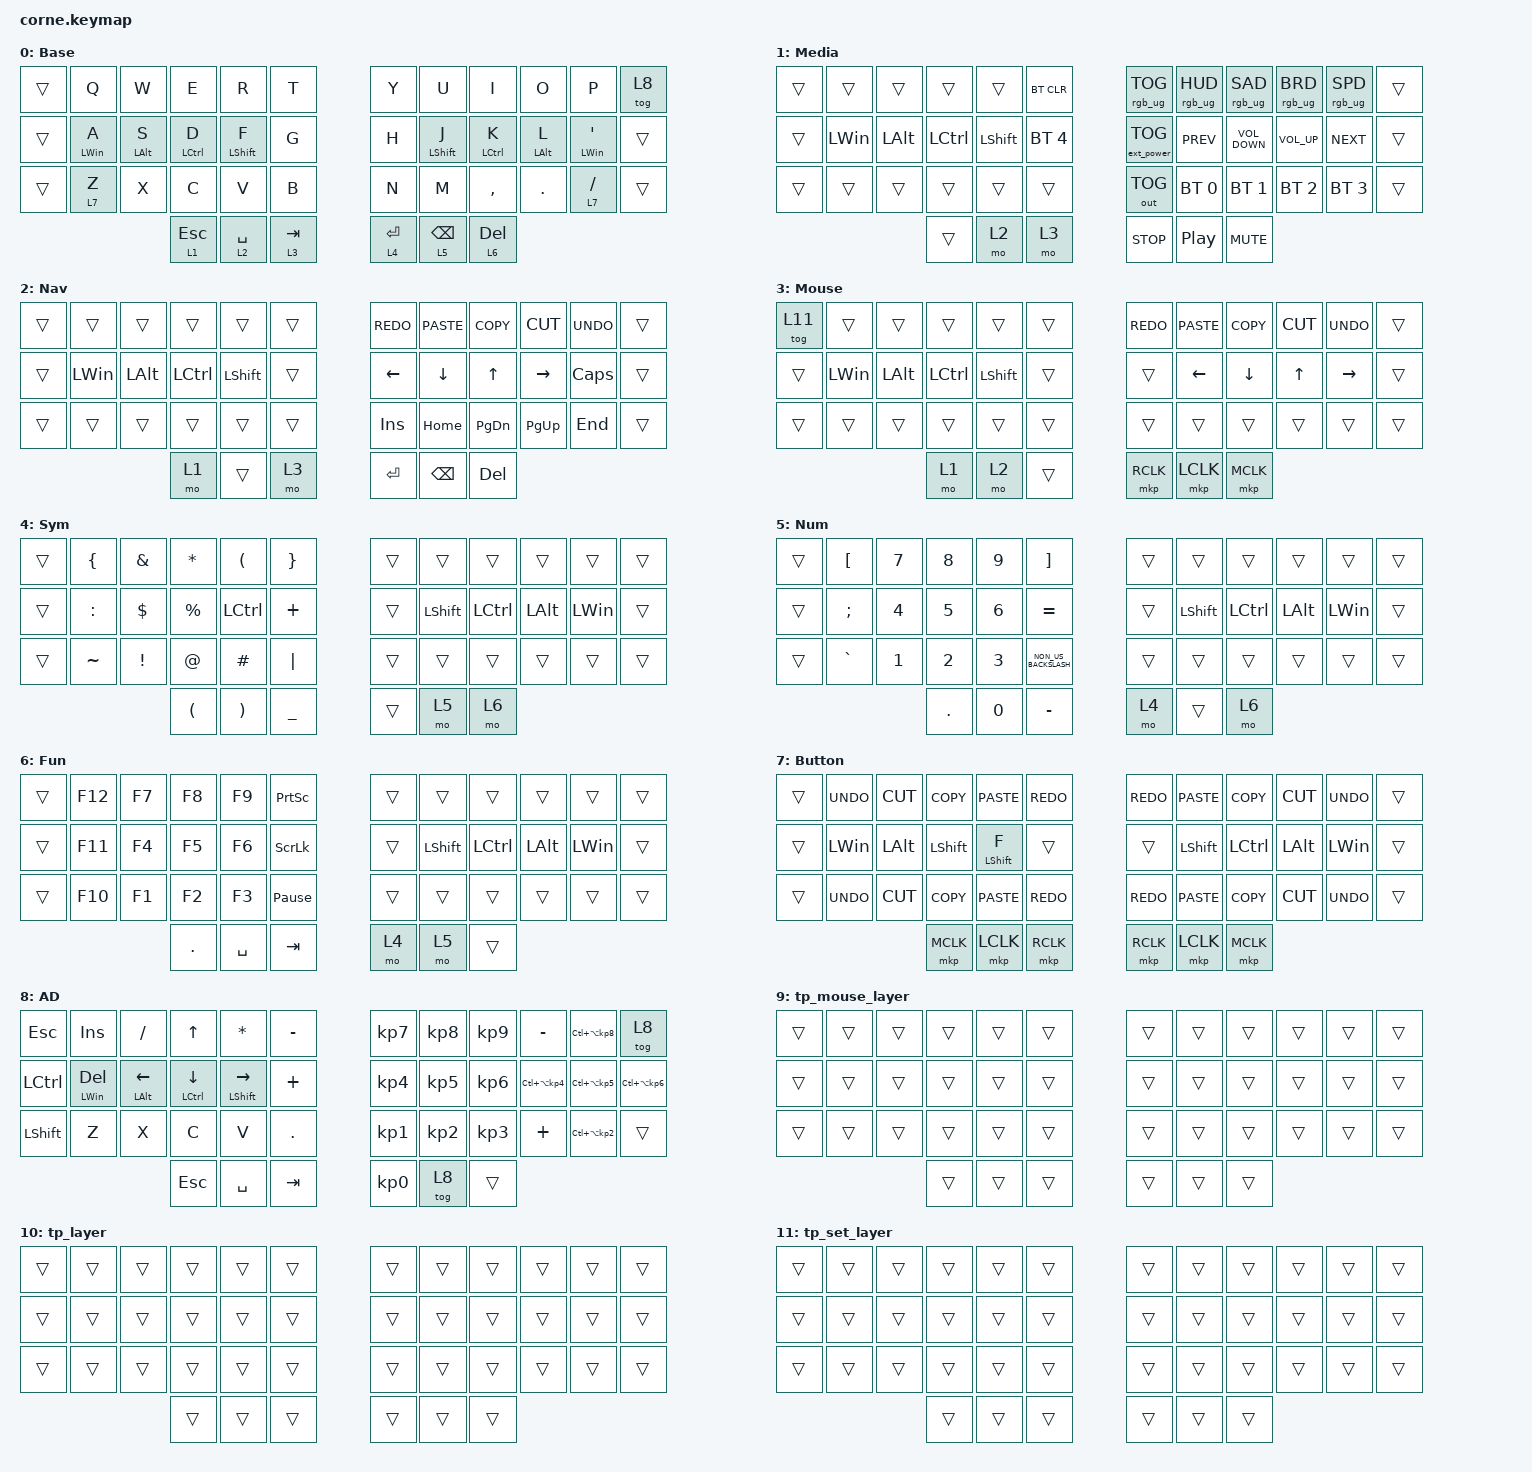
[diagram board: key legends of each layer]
/*
 * Copyright (c) 2020 The ZMK Contributors
 *
 * SPDX-License-Identifier: MIT
 * To use home rows - &hm LSHFT F
 */

#include <behaviors.dtsi>
#include <dt-bindings/zmk/bt.h>
#include <dt-bindings/zmk/ext_power.h>
#include <dt-bindings/zmk/keys.h>
#include <dt-bindings/zmk/mouse.h>
#include <dt-bindings/zmk/outputs.h>
#include <dt-bindings/zmk/rgb.h>

/*
#define QWERTY 0
#define NUMB 1
#define NAVI 2
#define ADJUST 3
#define Fkey 4
*/

/ {
    behaviors {
        hm: homerow_mods {
            compatible = "zmk,behavior-hold-tap";
            #binding-cells = <2>;
            tapping-term-ms = <200>;
            quick_tap_ms = <0>;
            require-prior-idle-ms = <125>;
            flavor = "tap-preferred";
            bindings = <&kp>, <&kp>;
        };
    };

    keymap {
        compatible = "zmk,keymap";

        default_layer {
            display-name = "Base";
            bindings = <
&trans  &kp Q           &kp W       &kp E        &kp R         &kp T        &kp Y      &kp U            &kp I         &kp O       &kp P         &tog 8
&trans  &mt LEFT_WIN A  &mt LALT S  &mt LCTRL D  &mt LSHIFT F  &kp G        &kp H      &mt LSHIFT J     &mt LCTRL K   &mt LALT L  &mt LWIN SQT  &trans
&trans  &lt 7 Z         &kp X       &kp C        &kp V         &kp B        &kp N      &kp M            &kp COMMA     &kp DOT     &lt 7 FSLH    &trans
                                    &lt 1 ESC    &lt 2 SPACE   &lt 3 TAB    &lt 4 RET  &lt 5 BACKSPACE  &lt 6 DELETE
            >;
        };

        media_layer {
            display-name = "Media";
            bindings = <
&trans  &trans        &trans    &trans     &trans      &bt BT_CLR      &rgb_ug RGB_TOG    &rgb_ug RGB_HUD   &rgb_ug RGB_SAD    &rgb_ug RGB_BRD  &rgb_ug RGB_SPD  &trans
&trans  &kp LEFT_WIN  &kp LALT  &kp LCTRL  &kp LSHIFT  &bt BT_SEL 4    &ext_power EP_TOG  &kp K_PREV        &kp C_VOLUME_DOWN  &kp C_VOLUME_UP  &kp K_NEXT       &trans
&trans  &trans        &trans    &trans     &trans      &trans          &out OUT_TOG       &bt BT_SEL 0      &bt BT_SEL 1       &bt BT_SEL 2     &bt BT_SEL 3     &trans
                                &trans     &mo 2       &mo 3           &kp C_STOP         &kp C_PLAY_PAUSE  &kp K_MUTE
            >;
        };

        nav_layer {
            display-name = "Nav";
            bindings = <
&trans  &trans        &trans    &trans     &trans      &trans    &kp K_REDO      &kp K_PASTE     &kp K_COPY     &kp K_CUT        &kp K_UNDO    &trans
&trans  &kp LEFT_WIN  &kp LALT  &kp LCTRL  &kp LSHIFT  &trans    &kp LEFT_ARROW  &kp DOWN_ARROW  &kp UP_ARROW   &kp RIGHT_ARROW  &kp CAPSLOCK  &trans
&trans  &trans        &trans    &trans     &trans      &trans    &kp INSERT      &kp HOME        &kp PAGE_DOWN  &kp PAGE_UP      &kp END       &trans
                                &mo 1      &trans      &mo 3     &kp ENTER       &kp BACKSPACE   &kp DEL
            >;
        };

        mouse_layer {
            display-name = "Mouse";
            bindings = <
&tog 11  &trans        &trans    &trans     &trans      &trans    &kp K_REDO  &kp K_PASTE     &kp K_COPY      &kp K_CUT     &kp K_UNDO       &trans
&trans   &kp LEFT_WIN  &kp LALT  &kp LCTRL  &kp LSHIFT  &trans    &trans      &kp LEFT_ARROW  &kp DOWN_ARROW  &kp UP_ARROW  &kp RIGHT_ARROW  &trans
&trans   &trans        &trans    &trans     &trans      &trans    &trans      &trans          &trans          &trans        &trans           &trans
                                 &mo 1      &mo 2       &trans    &mkp RCLK   &mkp LCLK       &mkp MCLK
            >;
        };

        sym_layer {
            display-name = "Sym";
            bindings = <
&trans  &kp LEFT_BRACE  &kp AMPERSAND    &kp ASTERISK          &kp LEFT_PARENTHESIS   &kp RIGHT_BRACE    &trans  &trans      &trans     &trans    &trans        &trans
&trans  &kp COLON       &kp DOLLAR       &kp PERCENT           &kp LCTRL              &kp PLUS           &trans  &kp LSHIFT  &kp LCTRL  &kp LALT  &kp LEFT_WIN  &trans
&trans  &kp TILDE       &kp EXCLAMATION  &kp AT_SIGN           &kp HASH               &kp PIPE           &trans  &trans      &trans     &trans    &trans        &trans
                                         &kp LEFT_PARENTHESIS  &kp RIGHT_PARENTHESIS  &kp UNDERSCORE     &trans  &mo 5       &mo 6
            >;
        };

        num_layer {
            display-name = "Num";
            bindings = <
&trans  &kp LEFT_BRACKET  &kp NUMBER_7  &kp NUMBER_8  &kp NUMBER_9  &kp RIGHT_BRACKET       &trans  &trans      &trans     &trans    &trans        &trans
&trans  &kp SEMICOLON     &kp NUMBER_4  &kp NUMBER_5  &kp NUMBER_6  &kp EQUAL               &trans  &kp LSHIFT  &kp LCTRL  &kp LALT  &kp LEFT_WIN  &trans
&trans  &kp GRAVE         &kp NUMBER_1  &kp NUMBER_2  &kp NUMBER_3  &kp NON_US_BACKSLASH    &trans  &trans      &trans     &trans    &trans        &trans
                                        &kp PERIOD    &kp N0        &kp MINUS               &mo 4   &trans      &mo 6
            >;
        };

        fun_layer {
            display-name = "Fun";
            bindings = <
&trans  &kp F12  &kp F7  &kp F8      &kp F9     &kp PRINTSCREEN    &trans  &trans      &trans     &trans    &trans        &trans
&trans  &kp F11  &kp F4  &kp F5      &kp F6     &kp SCROLLLOCK     &trans  &kp LSHIFT  &kp LCTRL  &kp LALT  &kp LEFT_WIN  &trans
&trans  &kp F10  &kp F1  &kp F2      &kp F3     &kp PAUSE_BREAK    &trans  &trans      &trans     &trans    &trans        &trans
                         &kp PERIOD  &kp SPACE  &kp TAB            &mo 4   &mo 5       &trans
            >;
        };

        button_layer {
            display-name = "Button";
            bindings = <
&trans  &kp K_UNDO    &kp K_CUT     &kp K_COPY  &kp K_PASTE   &kp K_REDO    &kp K_REDO  &kp K_PASTE  &kp K_COPY  &kp K_CUT     &kp K_UNDO    &trans
&trans  &kp LEFT_WIN  &kp LEFT_ALT  &kp LSHIFT  &mt LSHIFT F  &trans        &trans      &kp LSHIFT   &kp LCTRL   &kp LEFT_ALT  &kp LEFT_WIN  &trans
&trans  &kp K_UNDO    &kp K_CUT     &kp K_COPY  &kp K_PASTE   &kp K_REDO    &kp K_REDO  &kp K_PASTE  &kp K_COPY  &kp K_CUT     &kp K_UNDO    &trans
                                    &mkp MCLK   &mkp LCLK     &mkp RCLK     &mkp RCLK   &mkp LCLK    &mkp MCLK
            >;
        };

        ad_layer {
            display-name = "AD";
            bindings = <
&kp ESC         &kp INS           &kp FSLH                 &kp UP                &kp ASTERISK            &kp MINUS     &kp KP_NUMBER_7  &kp KP_NUMBER_8  &kp KP_NUMBER_9  &kp MINUS                &kp LC(LA(KP_NUMBER_8))  &tog 8
&kp LCTRL       &mt LEFT_WIN DEL  &mt LEFT_ALT LEFT_ARROW  &mt LCTRL DOWN_ARROW  &mt LSHIFT RIGHT_ARROW  &kp PLUS      &kp KP_NUMBER_4  &kp KP_NUMBER_5  &kp KP_NUMBER_6  &kp LC(LA(KP_NUMBER_4))  &kp LC(LA(KP_NUMBER_5))  &kp LC(LA(KP_NUMBER_6))
&kp LEFT_SHIFT  &kp Z             &kp X                    &kp C                 &kp V                   &kp PERIOD    &kp KP_NUMBER_1  &kp KP_NUMBER_2  &kp KP_NUMBER_3  &kp PLUS                 &kp LC(LA(KP_NUMBER_2))  &trans
                                                           &kp ESC               &kp SPACE               &kp TAB       &kp KP_NUMBER_0  &tog 8           &trans
            >;
        };

        tp_mouse_layer {
            bindings = <
&trans  &trans  &trans  &trans  &trans  &trans    &trans  &trans  &trans  &trans  &trans  &trans
&trans  &trans  &trans  &trans  &trans  &trans    &trans  &trans  &trans  &trans  &trans  &trans
&trans  &trans  &trans  &trans  &trans  &trans    &trans  &trans  &trans  &trans  &trans  &trans
                        &trans  &trans  &trans    &trans  &trans  &trans
            >;
        };

        tp_layer {
            bindings = <
&trans  &trans  &trans  &trans  &trans  &trans    &trans  &trans  &trans  &trans  &trans  &trans
&trans  &trans  &trans  &trans  &trans  &trans    &trans  &trans  &trans  &trans  &trans  &trans
&trans  &trans  &trans  &trans  &trans  &trans    &trans  &trans  &trans  &trans  &trans  &trans
                        &trans  &trans  &trans    &trans  &trans  &trans
            >;
        };

        tp_set_layer {
            bindings = <
&trans  &trans  &trans  &trans  &trans  &trans    &trans  &trans  &trans  &trans  &trans  &trans
&trans  &trans  &trans  &trans  &trans  &trans    &trans  &trans  &trans  &trans  &trans  &trans
&trans  &trans  &trans  &trans  &trans  &trans    &trans  &trans  &trans  &trans  &trans  &trans
                        &trans  &trans  &trans    &trans  &trans  &trans
            >;
        };
    };
};
